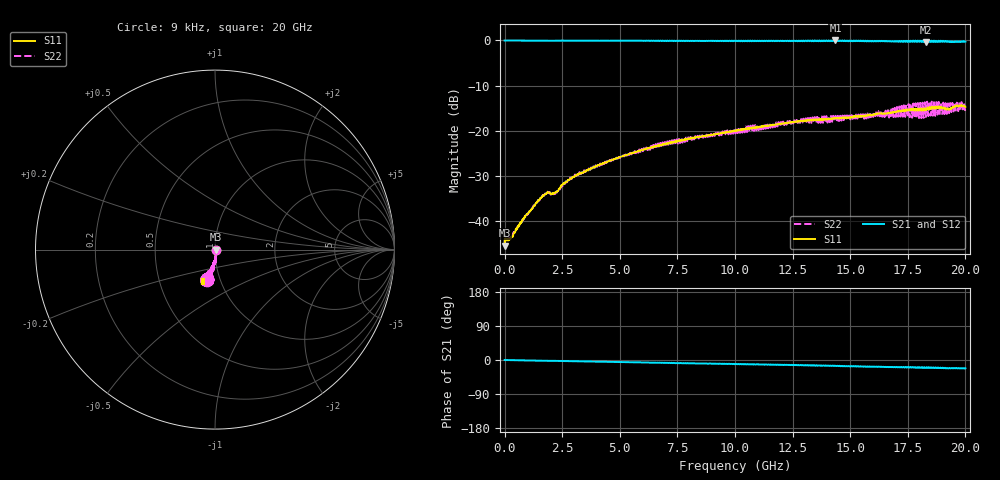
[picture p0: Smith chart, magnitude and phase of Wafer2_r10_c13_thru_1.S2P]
!  2-Port S-parameters saved by WinCal
! VAR NAME=Wafer2_r10_c13_thru
! VAR DATE=26/04/2024 16:51:10
! VAR FILENAME=Wafer2_r10_c13_thru_1.S2P
! VAR MeasName=S-Parameters (CALIBRATED_DATA) read from VNA (P5004A)
! VAR MeasDate=26/04/2024 16:24:18
! VAR PHYS_PORTS=1,2
! VAR ObjTypeName=DATASET
! VAR IndexType=Frequency
# Hz S MA R 50
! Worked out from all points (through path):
!   2000 points, 9 kHz to 20 GHz, reference 50 ohm
!   highest |S21| = -0.03 dB at 14.36 GHz (marker M1); lowest = -0.4 dB at 18.3 GHz (marker M2)
!   group delay of S21, straight-line fit = 3.05 ps
!   lowest |S11| = -45.3 dB at 9 kHz (marker M3), VSWR 1.01, Z = 50.5 - j0.0926 ohm
!   |S11| at or under -10 dB: start of sweep to end of sweep
!   |S22| runs from -45.5 to -13.5 dB; largest |S21 - S12| = 0.022
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9000  0.005421 -9.7  0.994 0.1  0.9937 0.1  0.005337 -7.0
1.10064e8  0.006283 -9.8  0.9936 -0.1  0.9936 -0.1  0.006323 -9.6
3.001589e8  0.006682 -27.4  0.9938 -0.3  0.9938 -0.3  0.006856 -26.6
8.704438e8  0.01135 -55.6  0.9928 -1.0  0.9932 -1.0  0.01118 -56.3
1.660839e9  0.01941 -74.6  0.9915 -1.9  0.9915 -1.9  0.01954 -74.5
1.860939e9  0.02123 -80.7  0.9905 -2.1  0.9904 -2.1  0.02127 -80.9
2.191104e9  0.02056 -79.6  0.9902 -2.4  0.9901 -2.4  0.02019 -78.7
2.561288e9  0.02653 -78.3  0.9932 -2.8  0.993 -2.8  0.02635 -76.5
3.341678e9  0.03475 -83.5  0.9897 -3.6  0.9903 -3.6  0.03527 -82.5
4.852433e9  0.05008 -87.6  0.9892 -5.3  0.9892 -5.3  0.05047 -86.9
6.673343e9  0.06927 -91.9  0.9899 -7.4  0.9886 -7.6  0.07155 -93.8
1.000501e10  0.09945 -97.9  0.9796 -10.9  0.9761 -10.8  0.09558 -99.4
1.333667e10  0.1327 -102.7  0.9828 -13.6  0.9884 -13.4  0.1296 -98.0
1.435718e10  0.1386 -103.2  0.9964 -15.3  0.9994 -15.7  0.1452 -100.7
1.614808e10  0.1558 -102.9  0.9848 -17.4  0.9836 -17.8  0.1647 -103.6
1.666834e10  0.1576 -103.6  0.9779 -18.8  0.9688 -18.5  0.1475 -107.6
1.743872e10  0.1717 -104.0  0.9844 -19.4  0.9817 -20.5  0.1943 -105.4
1.829915e10  0.172 -104.5  0.9542 -19.7  0.9646 -18.7  0.1499 -96.3
1.884943e10  0.1863 -107.9  0.979 -21.4  0.971 -22.4  0.2038 -110.0
1.927964e10  0.1715 -107.3  0.9616 -21.9  0.9522 -21.3  0.1599 -109.4
1.982992e10  0.1923 -108.0  0.9745 -21.9  0.9787 -22.5  0.2075 -105.2
2e10  0.1841 -109.5  0.9659 -21.9  0.9751 -21.6  0.1779 -102.6
